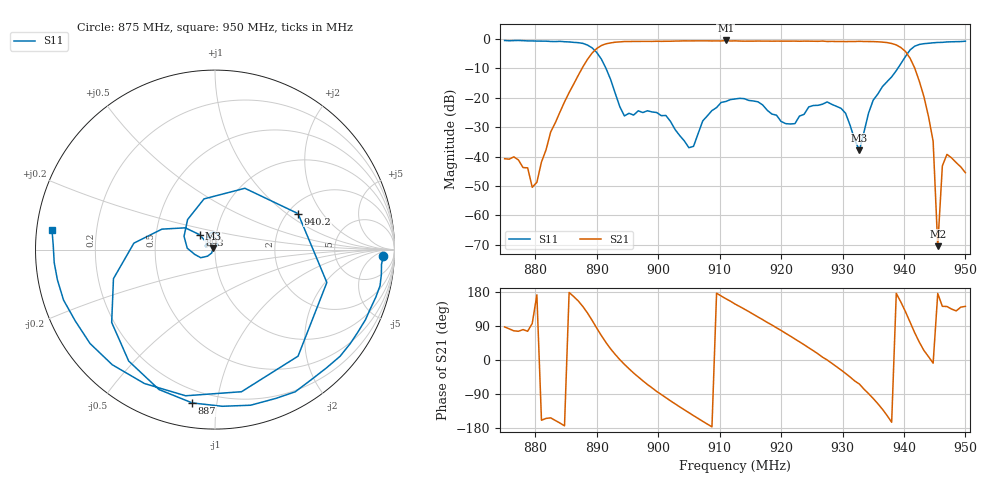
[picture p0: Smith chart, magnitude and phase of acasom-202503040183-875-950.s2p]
# HZ S RI R 50
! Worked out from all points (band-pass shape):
!   101 points, 875 MHz to 950 MHz, reference 50 ohm
!   highest |S21| = -0.52 dB at 911 MHz (marker M1); lowest = -70.4 dB at 945.5 MHz (marker M2)
!   |S21| within 3 dB of the highest: 889.9 MHz to 939.8 MHz (49.96 MHz wide, 5.46 % of centre)
!   lowest |S11| = -37.9 dB at 932.8 MHz (marker M3), VSWR 1.03, Z = 49 + j0.718 ohm
!   |S11| at or under -10 dB: 891.5 MHz to 939 MHz (47.49 MHz wide, 5.19 % of centre)
!   S12 and S22 are empty: the file has one direction only
!   S11 on the Smith chart (normalised r, x): 875 MHz: 23, -14; 887 MHz: 0.13, -0.85; 893 MHz: 0.83, +0.14; 940.2 MHz: 2.27, +1.22; 950 MHz: 0.04, +0.06
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8.75e8  0.938 -0.0363  0.000447 0.0092  0 0  0 0
8.8025e8  0.7963 -0.459  -0.00363 0.000509  0 0  0 0
8.87e8  -0.1264 -0.8544  -0.2204 0.0999  0 0  0 0
8.8775e8  -0.3118 -0.7797  -0.261 0.2128  0 0  0 0
8.9075e8  -0.4519 0.0361  0.3339 0.6971  0 0  0 0
8.93e8  -0.0861 0.0833  0.851 0.2242  0 0  0 0
9.005e8  -0.000372 0.0497  -0.0166 -0.9096  0 0  0 0
9.05e8  -0.00301 0.0138  -0.6989 -0.6065  0 0  0 0
9.11e8  -0.034 0.0795  -0.8948 0.2939  0 0  0 0
9.125e8  -0.0218 0.0929  -0.7835 0.4956  0 0  0 0
9.1925e8  0.0149 0.0483  0.0789 0.9147  0 0  0 0
9.2525e8  -0.0436 0.0597  0.8318 0.3791  0 0  0 0
9.2975e8  -0.0067 0.066  0.8112 -0.3996  0 0  0 0
9.3275e8  -0.0104 0.00734  0.4057 -0.8144  0 0  0 0
9.3575e8  -0.1126 -0.0271  -0.3811 -0.8084  0 0  0 0
9.38e8  -0.1528 0.1672  -0.8058 -0.2267  0 0  0 0
9.4025e8  0.4627 0.2005  -0.371 0.4859  0 0  0 0
9.425e8  0.1477 -0.7919  0.1302 0.1398  0 0  0 0
9.4475e8  -0.5725 -0.6414  0.018 -0.00265  0 0  0 0
9.455e8  -0.6963 -0.5231  -0.0003 2.37e-05  0 0  0 0
9.4625e8  -0.7787 -0.3974  -0.00546 0.00433  0 0  0 0
9.5e8  -0.9082 0.1088  -0.00417 0.00331  0 0  0 0
